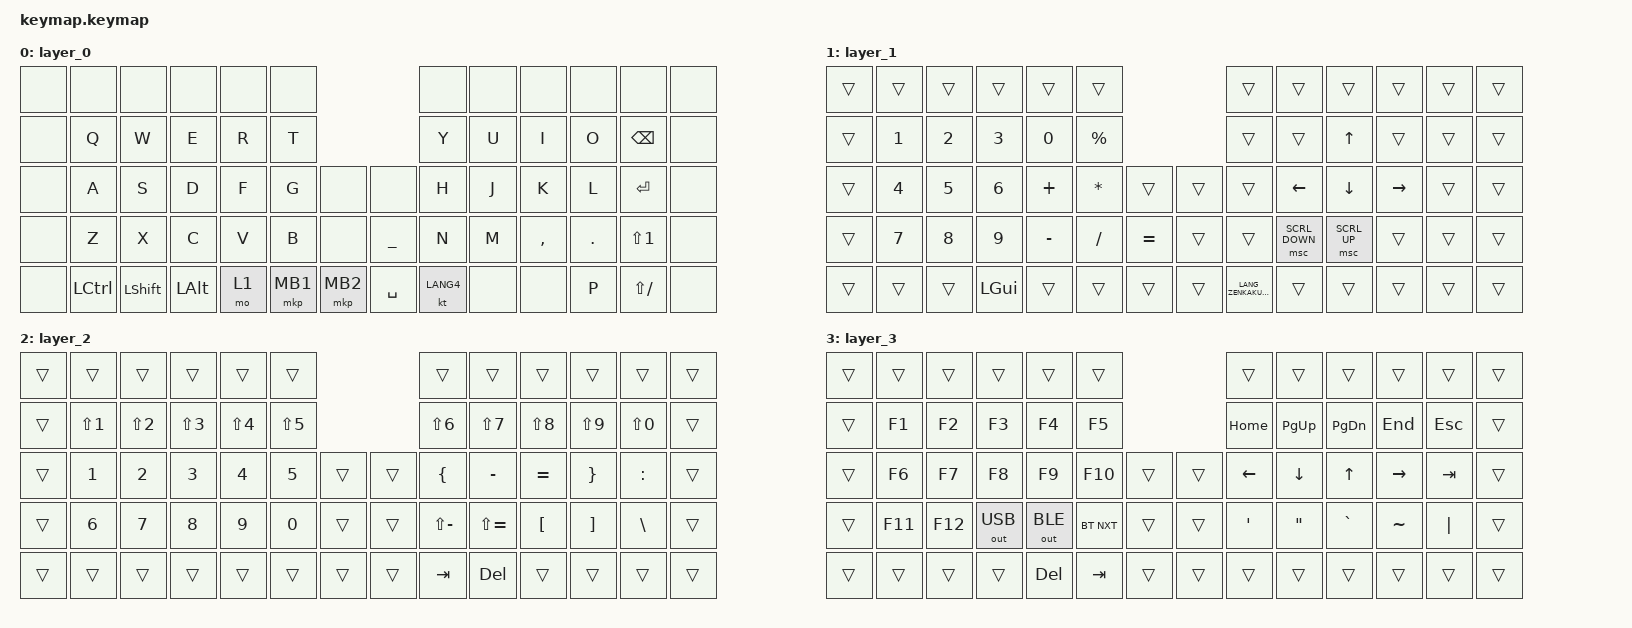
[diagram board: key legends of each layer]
#include <behaviors.dtsi>
#include <dt-bindings/zmk/bt.h>
#include <dt-bindings/zmk/keys.h>
#include <dt-bindings/zmk/outputs.h>
#include <dt-bindings/zmk/pointing.h>

/ {
    combos {
        compatible = "zmk,combos";

        bt_clear {
            bindings = <&bt BT_CLR>;
            key-positions = <28 29>;
            layers = <2>;
        };
    };

    keymap {
        compatible = "zmk,keymap";

        layer_0 {
            bindings = <
&none  &none      &none           &none     &none  &none                          &none      &none  &none      &none    &none             &none
&none  &kp Q      &kp W           &kp E     &kp R  &kp T                          &kp Y      &kp U  &kp I      &kp O    &kp BACKSPACE     &none
&none  &kp A      &kp S           &kp D     &kp F  &kp G     &none     &none      &kp H      &kp J  &kp K      &kp L    &kp ENTER         &none
&none  &kp Z      &kp X           &kp C     &kp V  &kp B     &none     &kp UNDER  &kp N      &kp M  &kp COMMA  &kp DOT  &kp LS(NUMBER_1)  &none
&none  &kp LCTRL  &kp LEFT_SHIFT  &kp LALT  &mo 1  &mkp MB1  &mkp MB2  &kp SPACE  &kt LANG4  &none  &none      &kp P    &kp LS(SLASH)     &none
            >;
        };

        layer_1 {
            bindings = <
&trans  &trans        &trans        &trans        &trans     &trans                          &trans                   &trans          &trans          &trans     &trans  &trans
&trans  &kp NUMBER_1  &kp NUMBER_2  &kp NUMBER_3  &kp N0     &kp PERCENT                     &trans                   &trans          &kp UP_ARROW    &trans     &trans  &trans
&trans  &kp NUMBER_4  &kp N5        &kp NUMBER_6  &kp PLUS   &kp STAR     &trans     &trans  &trans                   &kp LEFT_ARROW  &kp DOWN_ARROW  &kp RIGHT  &trans  &trans
&trans  &kp N7        &kp N8        &kp N9        &kp MINUS  &kp SLASH    &kp EQUAL  &trans  &trans                   &msc SCRL_DOWN  &msc SCRL_UP    &trans     &trans  &trans
&trans  &trans        &trans        &kp LEFT_GUI  &trans     &trans       &trans     &trans  &kp LANG_ZENKAKUHANKAKU  &trans          &trans          &trans     &trans  &trans
            >;
        };

        layer_2 {
            bindings = <
&trans  &trans            &trans            &trans      &trans      &trans                      &trans          &trans         &trans            &trans             &trans         &trans
&trans  &kp LS(NUMBER_1)  &kp LS(NUMBER_2)  &kp LS(N3)  &kp LS(N4)  &kp LS(N5)                  &kp LS(N6)      &kp LS(N7)     &kp LS(N8)        &kp LS(N9)         &kp LS(N0)     &trans
&trans  &kp N1            &kp N2            &kp N3      &kp N4      &kp N5      &trans  &trans  &kp LEFT_BRACE  &kp MINUS      &kp EQUAL         &kp RIGHT_BRACE    &kp COLON      &trans
&trans  &kp N6            &kp N7            &kp N8      &kp N9      &kp N0      &trans  &trans  &kp LS(MINUS)   &kp LS(EQUAL)  &kp LEFT_BRACKET  &kp RIGHT_BRACKET  &kp BACKSLASH  &trans
&trans  &trans            &trans            &trans      &trans      &trans      &trans  &trans  &kp TAB         &kp DEL        &trans            &trans             &trans         &trans
            >;
        };

        layer_3 {
            bindings = <
&trans  &trans   &trans   &trans        &trans        &trans                      &trans            &trans     &trans         &trans     &trans      &trans
&trans  &kp F1   &kp F2   &kp F3        &kp F4        &kp F5                      &kp HOME          &kp PG_UP  &kp PAGE_DOWN  &kp END    &kp ESCAPE  &trans
&trans  &kp F6   &kp F7   &kp F8        &kp F9        &kp F10     &trans  &trans  &kp LEFT          &kp DOWN   &kp UP_ARROW   &kp RIGHT  &kp TAB     &trans
&trans  &kp F11  &kp F12  &out OUT_USB  &out OUT_BLE  &bt BT_NXT  &trans  &trans  &kp SINGLE_QUOTE  &kp DQT    &kp GRAVE      &kp TILDE  &kp PIPE    &trans
&trans  &trans   &trans   &trans        &kp DELETE    &kp TAB     &trans  &trans  &trans            &trans     &trans         &trans     &trans      &trans
            >;
        };
    };
};
